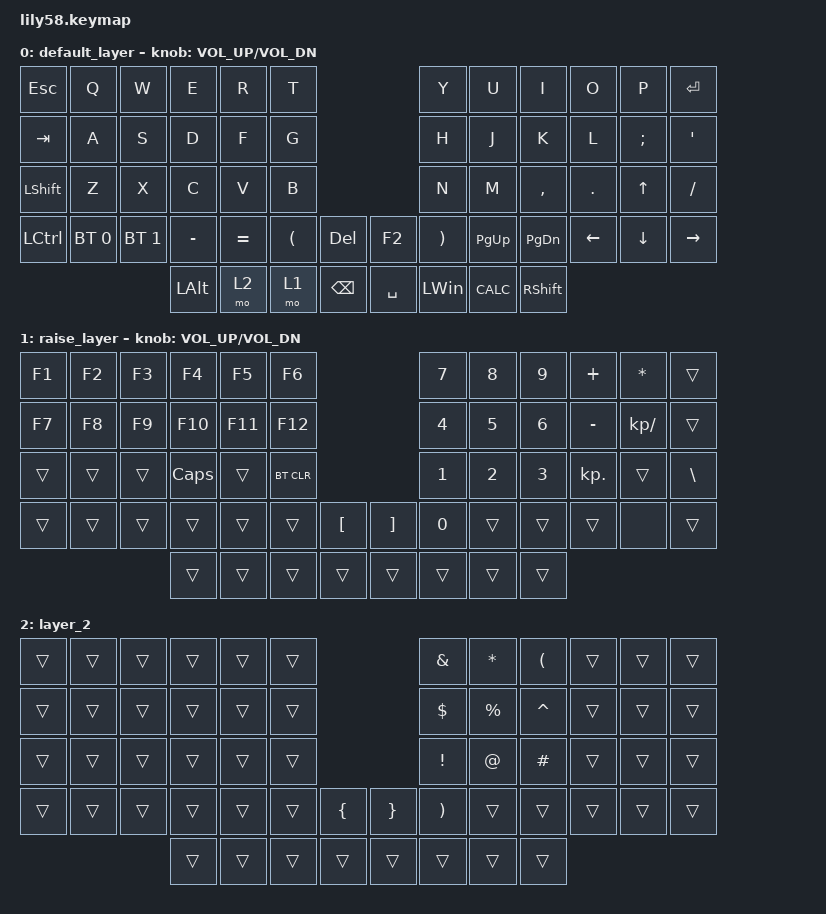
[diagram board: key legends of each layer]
/*
 * Copyright (c) 2020 The ZMK Contributors
 *
 * SPDX-License-Identifier: MIT
 */

#include <behaviors.dtsi>
#include <dt-bindings/zmk/bt.h>
#include <dt-bindings/zmk/keys.h>

/ {
    keymap {
        compatible = "zmk,keymap";

        default_layer {
            // ------------------------------------------------------------------------------------------------------------
            // |  ESC  |  1  |  2  |  3   |  4   |  5   |                   |  6   |  7    |  8    |  9   |   0   |   `   |
            // |  TAB  |  Q  |  W  |  E   |  R   |  T   |                   |  Y   |  U    |  I    |  O   |   P   |   -   |
            // |  CTRL |  A  |  S  |  D   |  F   |  G   |                   |  H   |  J    |  K    |  L   |   ;   |   '   |
            // | SHIFT |  Z  |  X  |  C   |  V   |  B   |   "["  |  |  "]"  |  N   |  M    |  ,    |  .   |   /   | SHIFT |
            //                     | ALT  | GUI  | LOWER|  SPACE |  | ENTER | RAISE| BSPC  | GUI   |

            bindings = <
&kp ESC           &kp Q         &kp W         &kp E      &kp R      &kp T                                             &kp Y                  &kp U        &kp I            &kp O       &kp P          &kp ENTER
&kp TAB           &kp A         &kp S         &kp D      &kp F      &kp G                                             &kp H                  &kp J        &kp K            &kp L       &kp SEMICOLON  &kp SQT
&kp LEFT_SHIFT    &kp Z         &kp X         &kp C      &kp V      &kp B                                             &kp N                  &kp M        &kp COMMA        &kp PERIOD  &kp UP_ARROW   &kp SLASH
&kp LEFT_CONTROL  &bt BT_SEL 0  &bt BT_SEL 1  &kp MINUS  &kp EQUAL  &kp LEFT_PARENTHESIS  &kp DELETE       &kp F2     &kp RIGHT_PARENTHESIS  &kp PAGE_UP  &kp PG_DN        &kp LEFT    &kp DOWN       &kp RIGHT
                                              &kp LALT   &mo 2      &mo 1                 &kp BACKSPACE    &kp SPACE  &kp LEFT_WIN           &kp K_CALC   &kp RIGHT_SHIFT
            >;

            sensor-bindings = <&inc_dec_kp C_VOL_UP C_VOL_DN>;
        };

        raise_layer {
            // ------------------------------------------------------------------------------------------------------------
            // |       |     |     |      |      |      |                   |      |       |       |      |       |       |
            // |   `   |  1  |  2  |  3   |  4   |  5   |                   |  6   |   7   |   8   |  9   |   0   |       |
            // |   F1  |  F2 |  F3 |  F4  |  F5  |  F6  |                   |      |   <-  |   v   |  ^   |  ->   |       |
            // |   F7  |  F8 |  F9 |  F10 |  F11 |  F12 |        |  |       |  +   |   -   |   =   |  [   |   ]   |   \   |
            //                     |      |      |      |        |  |       |      |       |       |

            bindings = <
&kp F1  &kp F2  &kp F3  &kp F4        &kp F5   &kp F6                                             &kp N7        &kp N8        &kp N9        &kp PLUS    &kp ASTERISK   &trans
&kp F7  &kp F8  &kp F9  &kp F10       &kp F11  &kp F12                                            &kp NUMBER_4  &kp N5        &kp NUMBER_6  &kp MINUS   &kp KP_DIVIDE  &trans
&trans  &trans  &trans  &kp CAPSLOCK  &trans   &bt BT_CLR                                         &kp NUMBER_1  &kp NUMBER_2  &kp NUMBER_3  &kp KP_DOT  &trans         &kp BSLH
&trans  &trans  &trans  &trans        &trans   &trans      &kp LEFT_BRACKET    &kp RIGHT_BRACKET  &kp N0        &trans        &trans        &trans      &none          &trans
                        &trans        &trans   &trans      &trans              &trans             &trans        &trans        &trans
            >;

            sensor-bindings = <&inc_dec_kp C_VOL_UP C_VOL_DN>;
        };

        layer_2 {
            bindings = <
&trans  &trans  &trans  &trans  &trans  &trans                                     &kp AMPERSAND          &kp ASTERISK  &kp LEFT_PARENTHESIS  &trans  &trans  &trans
&trans  &trans  &trans  &trans  &trans  &trans                                     &kp DOLLAR             &kp PERCENT   &kp CARET             &trans  &trans  &trans
&trans  &trans  &trans  &trans  &trans  &trans                                     &kp EXCLAMATION        &kp AT_SIGN   &kp HASH              &trans  &trans  &trans
&trans  &trans  &trans  &trans  &trans  &trans  &kp LEFT_BRACE    &kp RIGHT_BRACE  &kp RIGHT_PARENTHESIS  &trans        &trans                &trans  &trans  &trans
                        &trans  &trans  &trans  &trans            &trans           &trans                 &trans        &trans
            >;
        };
    };
};
